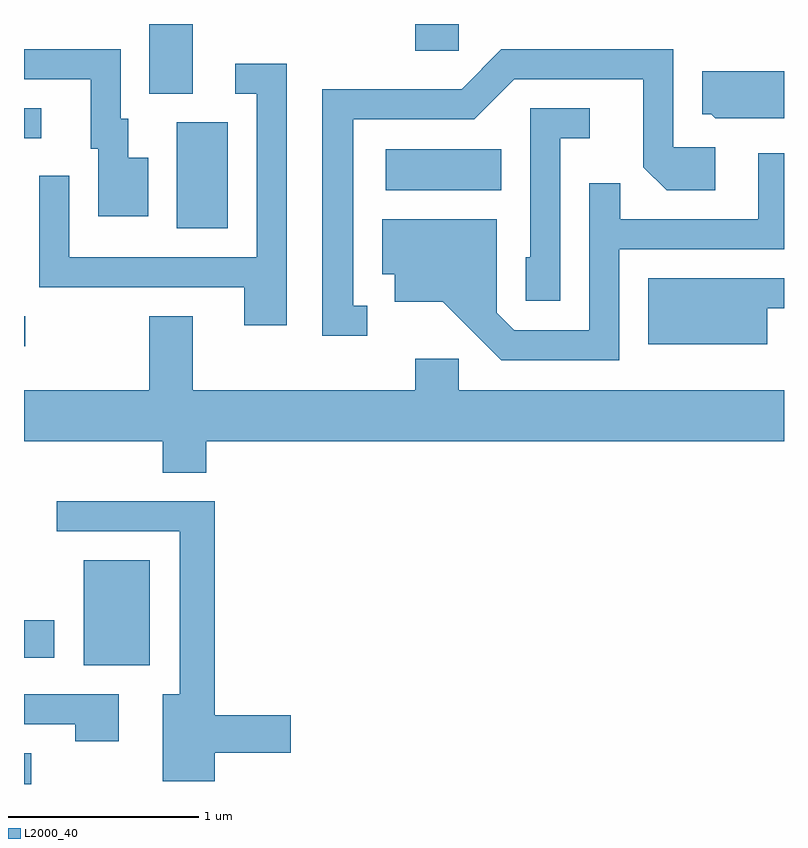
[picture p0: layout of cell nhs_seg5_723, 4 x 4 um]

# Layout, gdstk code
import gdstk
lib = gdstk.Library(unit=1e-6, precision=1e-09)
def R(c, l, rs):  # rectangles x0, y0, x1, y1
    for r in rs: c.add(gdstk.rectangle(r[:2], r[2:], *l))
def P(c, l, *ps):  # polygons
    for p in ps: c.add(gdstk.Polygon(p, *l))
L2000_40 = (2000, 40)

nhs_seg5_723 = lib.new_cell('nhs_seg5_723')
R(nhs_seg5_723, L2000_40, [(205.611,1486.072,205.649,1486.234), (205.926,1486.696,206.274,1487.249), (205.611,1486.736,205.769,1486.934), (205.611,1488.376,205.618,1488.534), (206.416,1488.996,206.684,1489.554), (207.516,1489.196,208.124,1489.414), (205.611,1489.471,205.703,1489.629), (206.271,1489.706,206.499,1490.072), (207.671,1489.931,207.899,1490.072)])
P(nhs_seg5_723, L2000_40, [(207.418,1488.589),(207.344,1488.589),(207.344,1489.571),(207.982,1489.571),(208.192,1489.781),(208.871,1489.781),(208.871,1489.319),(208.994,1489.196),(209.249,1489.196),(209.249,1489.424),(209.029,1489.424),(209.029,1489.939),(208.124,1489.939),(207.914,1489.729),(207.181,1489.729),(207.181,1488.431),(207.418,1488.431)],
  [(206.264,1489.369),(206.159,1489.369),(206.159,1489.574),(206.119,1489.574),(206.119,1489.939),(205.611,1489.939),(205.611,1489.781),(205.961,1489.781),(205.961,1489.416),(206.001,1489.416),(206.001,1489.061),(206.264,1489.061)],
  [(206.994,1489.864),(206.723,1489.864),(206.723,1489.706),(206.836,1489.706),(206.836,1488.844),(205.849,1488.844),(205.849,1489.273),(205.691,1489.273),(205.691,1488.686),(206.771,1488.686),(206.771,1488.486),(206.994,1488.486)],
  [(209.611,1489.824),(209.181,1489.824),(209.181,1489.596),(209.229,1489.596),(209.249,1489.576),(209.611,1489.576)],
  [(208.434,1489.471),(208.588,1489.471),(208.588,1489.629),(208.276,1489.629),(208.276,1488.844),(208.251,1488.844),(208.251,1488.616),(208.434,1488.616)],
  [(208.744,1488.886),(209.611,1488.886),(209.611,1489.393),(209.476,1489.393),(209.476,1489.044),(208.749,1489.044),(208.749,1489.233),(208.586,1489.233),(208.586,1488.459),(208.192,1488.459),(208.099,1488.552),(208.099,1489.044),(207.496,1489.044),(207.496,1488.756),(207.561,1488.756),(207.561,1488.611),(207.814,1488.611),(208.124,1488.301),(208.744,1488.301)],
  [(209.524,1488.576),(209.611,1488.576),(209.611,1488.734),(208.896,1488.734),(208.896,1488.386),(209.524,1488.386)],
  [(206.569,1487.876),(209.611,1487.876),(209.611,1488.144),(207.899,1488.144),(207.899,1488.309),(207.671,1488.309),(207.671,1488.144),(206.499,1488.144),(206.499,1488.534),(206.271,1488.534),(206.271,1488.144),(205.611,1488.144),(205.611,1487.876),(206.341,1487.876),(206.341,1487.711),(206.569,1487.711)],
  [(206.614,1486.236),(207.014,1486.236),(207.014,1486.434),(206.614,1486.434),(206.614,1487.559),(205.783,1487.559),(205.783,1487.401),(206.431,1487.401),(206.431,1486.544),(206.341,1486.544),(206.341,1486.086),(206.614,1486.086)],
  [(206.109,1486.544),(205.611,1486.544),(205.611,1486.386),(205.881,1486.386),(205.881,1486.296),(206.109,1486.296)])

lib.write_gds('nhs_seg5_723.gds')
